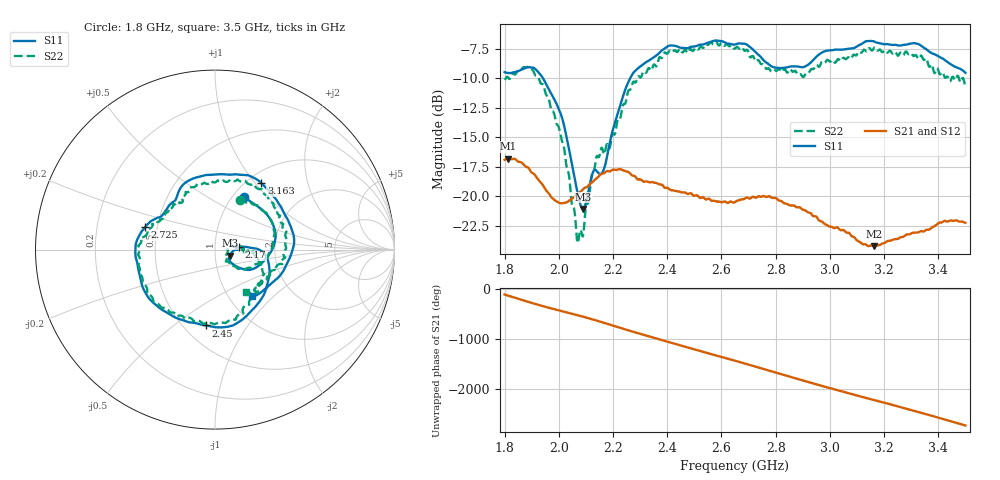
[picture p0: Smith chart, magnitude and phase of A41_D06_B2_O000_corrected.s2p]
! Created with skrf 1.9.0 (http://scikit-rf.org).
# Hz S RI R 50.0
!freq ReS11 ImS11 ReS21 ImS21 ReS12 ImS12 ReS22 ImS22
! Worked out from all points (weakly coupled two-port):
!   1601 points, 1.8 GHz to 3.5 GHz, reference 50 ohm
!   highest |S21| = -16.81 dB at 1.813 GHz (marker M1); lowest = -24.2 dB at 3.162 GHz (marker M2)
!   lowest |S11| = -21.1 dB at 2.09 GHz (marker M3), VSWR 1.19, Z = 58.8 - j3.95 ohm
!   |S11| at or under -10 dB: 1.942 GHz to 2.263 GHz (321.5 MHz wide, 15.3 % of centre)
!   |S22| runs from -24.0 to -6.9 dB; largest |S21 - S12| = 0.0024
!   S11 on the Smith chart (normalised r, x): 1.8 GHz: 1.12, +0.75; 2.17 GHz: 1.31, +0.03; 2.45 GHz: 0.64, -0.66; 2.725 GHz: 0.43, +0.13; 3.163 GHz: 1.15, +1.08; 3.5 GHz: 1.28, -0.75
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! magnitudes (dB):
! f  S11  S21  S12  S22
! 1.8 GHz  -9.5  -16.9  -16.9  -10.1
! 1.813 GHz  -9.6  -16.8  -16.8  -9.9
! 1.882 GHz  -9.1  -17.5  -17.5  -9.0
! 1.942 GHz  -10.0  -19.1  -19.1  -10.6
! 2.011 GHz  -13.3  -20.6  -20.6  -15.3
! 2.067 GHz  -19.4  -19.8  -19.8  -23.6
! 2.084 GHz  -20.9  -19.6  -19.5  -23.1
! 2.09 GHz  -21.1  -19.4  -19.4  -23.3
! 2.135 GHz  -17.8  -18.6  -18.6  -17.2
! 2.17 GHz  -17.5  -18.0  -18.0  -16.3
! 2.26 GHz  -10.1  -18.0  -18.0  -11.0
! 2.367 GHz  -7.9  -19.0  -18.9  -8.5
! 2.45 GHz  -7.4  -19.7  -19.7  -7.6
! 2.65 GHz  -7.1  -20.5  -20.5  -7.5
! 2.725 GHz  -7.8  -20.1  -20.1  -8.5
! 2.799 GHz  -9.1  -20.1  -20.1  -9.3
! 2.934 GHz  -8.6  -21.6  -21.5  -9.2
! 3.162 GHz  -6.9  -24.2  -24.2  -7.5
! 3.163 GHz  -6.9  -24.2  -24.2  -7.4
! 3.217 GHz  -7.1  -23.8  -23.8  -7.7
! 3.324 GHz  -7.1  -23.1  -23.1  -8.3
! 3.5 GHz  -9.5  -22.3  -22.2  -10.8
